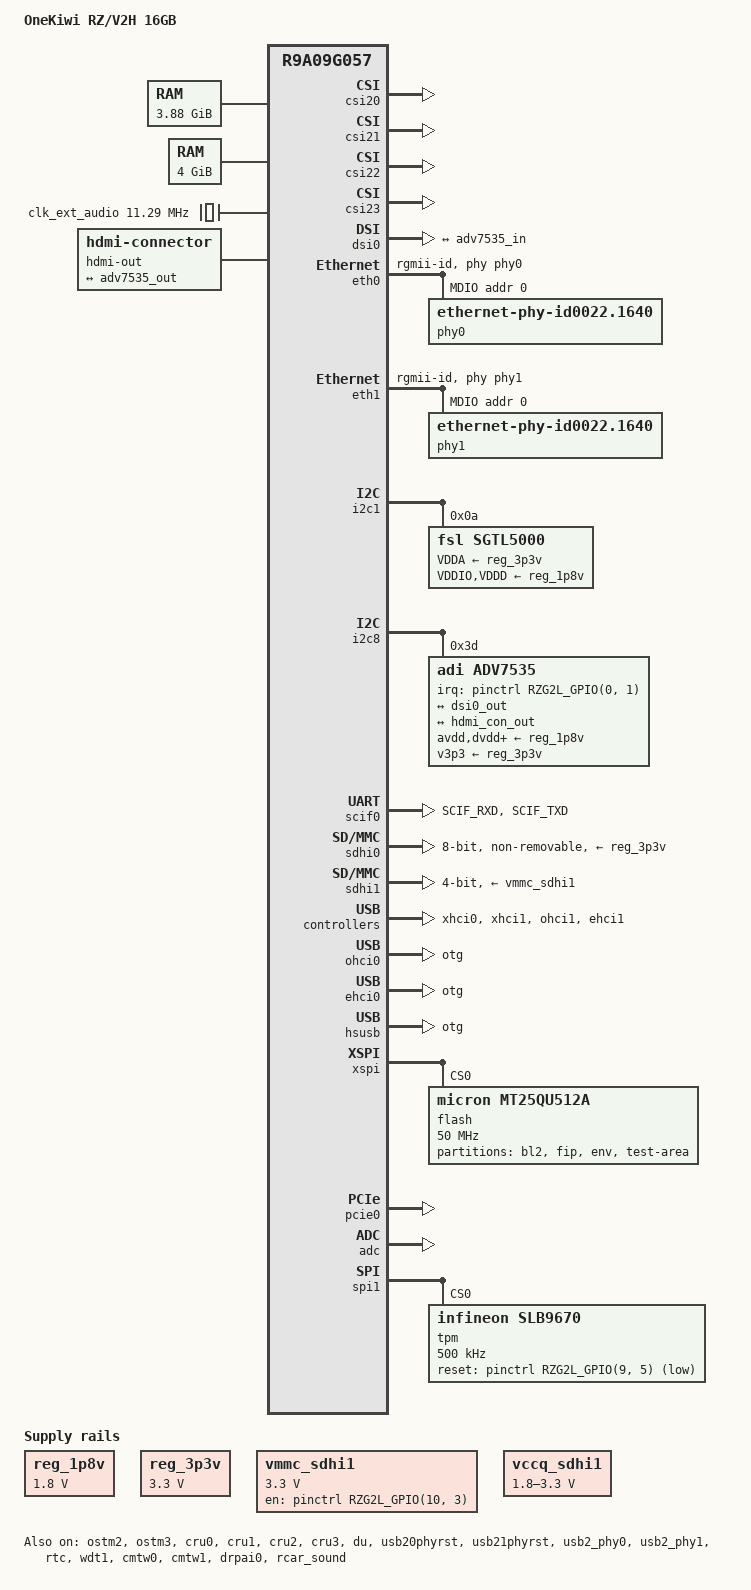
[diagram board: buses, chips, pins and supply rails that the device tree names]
// SPDX-License-Identifier: (GPL-2.0-only OR BSD-2-Clause)
/*
 * Device Tree Source for the OneKiw RZ/V2H SOM board
 *
 * Copyright (C) 2024 Renesas Electronics Corp.
 */

/dts-v1/;
#include "r9a09g057-onekiwi.dtsi"
#include <dt-bindings/pinctrl/rzg2l-pinctrl.h>
#include <dt-bindings/gpio/gpio.h>

/ {
	model = "OneKiwi RZ/V2H 16GB";
	compatible = "onekiwi,onekiwi-rzv2h-16gb", "renesas,r9a09g057h4", "renesas,r9a09g057";

	aliases {
		serial0 = &scif0;
		mmc0 = &sdhi0;
		mmc1 = &sdhi1;
		mmc2 = &sdhi2;
		ethernet0 = &eth0;
		ethernet1 = &eth1;
	};

	chosen {
		bootargs = "ignore_loglevel";
		stdout-path = "serial0:115200n8";
	};

	memory@48000000 {
		device_type = "memory";
		reg = <0x0 0x48000000 0x0 0xF8000000>;
	};

	memory@240000000 {
		device_type = "memory";
		reg = <0x2 0x40000000 0x1 0x00000000>;
	};

	reserved-memory {
		#address-cells = <2>;
		#size-cells = <2>;
		ranges;

		global_cma: linux,cma@58000000 {
			compatible = "shared-dma-pool";
			linux,cma-default;
			reusable;
			reg = <0x0 0x58000000 0x0 0x28000000>;
		};

		mmp_reserved: linux,multimedia {
			compatible = "shared-dma-pool";
			reusable;
			reg = <0x00000000 0x80000000 0x0 0x10000000>;
		};

		isp_reserved: frame_buffer@90000000 {
			compatible = "shared-dma-pool";
			reusable;
			reg = <0x0 0x90000000 0x0 0x18000000>;
		};

		opencva_reserved: OpenCVA@A8000000 {
			reusable;
			reg = <0x0 0xA8000000 0x0 0x7D00000>;
		};

		drp_codec: DRP-Codec@AFD00000 {
			reusable;
			reg = <0x0 0xAFD00000 0x0 0x300000>;
		};

		image_buf0: image_buf@B0000000 {
			compatible = "shared-dma-pool";
			reusable;
			reg = <0x0 0xB0000000 0x0 0x4000000>;
			label = "image_buf0";
		};

		cru_func: cru_buffer@B4000000 {
			compatible = "shared-dma-pool";
			reusable;
			reg = <0x0 0xB4000000 0x0 0x16400000>;
		};

		drp_reserved: DRP-AI@240000000 {
			reusable;
			// reg = <0x2 0x40000000 0x0 0x20000000>; // size = 512 MiB
			reg = <0x2 0x40000000 0x0 0x80000000>; // size = 2GiB
		};
	};

	mmngr {
		compatible = "renesas,mmngr";
		memory-region = <&mmp_reserved>;
	};

	mmngrbuf {
		compatible = "renesas,mmngrbuf";
	};

	vspm_if {
		compatible = "renesas,vspm_if";
	};

	reg_1p8v: regulator0 {
		compatible = "regulator-fixed";
		regulator-name = "fixed-1.8V";
		regulator-min-microvolt = <1800000>;
		regulator-max-microvolt = <1800000>;
		regulator-boot-on;
		regulator-always-on;
	};

	reg_3p3v: regulator1 {
		compatible = "regulator-fixed";
		regulator-name = "fixed-3.3V";
		regulator-min-microvolt = <3300000>;
		regulator-max-microvolt = <3300000>;
		regulator-boot-on;
		regulator-always-on;
	};

	vmmc_sdhi1: regulator-vcc-sdhi1 {
		compatible = "regulator-fixed";
		regulator-name = "SDHI1 Vmmc";
		regulator-min-microvolt = <3300000>;
		regulator-max-microvolt = <3300000>;
		gpios = <&pinctrl RZG2L_GPIO(10, 3) GPIO_ACTIVE_HIGH>;
		enable-active-high;
	};

	vccq_sdhi1: regulator-vccq-sdhi1 {
		compatible = "regulator-gpio";
		regulator-name = "SDHI1 VccQ";
		regulator-min-microvolt = <1800000>;
		regulator-max-microvolt = <3300000>;
		//gpios = <&pinctrl RZG2L_GPIO(10, 2) GPIO_ACTIVE_HIGH>;
		gpios-states = <1>;
		states = <3300000 0 1800000 1>;
	};

	x1_clk: x1-clock {
		compatible = "fixed-clock";
		#clock-cells = <0>;
		clock-frequency = <24000000>;
	};

	clk_ext_audio: clk_ext_audio {
		compatible = "fixed-clock";
		#clock-cells = <0>;
		clock-frequency = <11289600>;
	};

	snd_rzv2h: sound {
		#address-cells = <1>;
		#size-cells = <0>;
		compatible = "simple-audio-card";
		simple-audio-card,name = "rsnd_rzv2h";
		status="okay";

		ssi_link: simple-audio-card,dai-link@0 {
			format = "i2s";
			reg = <0>;
			bitclock-master = <&cpu_dai0>;
			frame-master = <&cpu_dai0>;
			mclk-fs = <256>;

			cpu_dai0: cpu {
				sound-dai = <&rcar_sound 0>;
			};

			codec {
				sound-dai = <&sgtl5000>;
				clocks = <&rcar_sound>;
			};
		};
	};

	hdmi-out {
		compatible = "hdmi-connector";
		type = "d";

		port {
			hdmi_con_out: endpoint {
				remote-endpoint = <&adv7535_out>;
			};
		};
	};

	udmabuf@0 {
		compatible = "ikwzm,u-dma-buf";
		device-name = "udmabuf0";
		minor-number = <0>;
		size = <0x4000000>; // 64MiB
		dma-coherent;
		memory-region = <&image_buf0>;
	};
};

&audio_clka {
	clock-frequency = <22579200>;
};

&audio_clkb {
	clock-frequency = <24576000>;
};

&audio_clkc {
	clock-frequency = <22579200>;
};

&extal_clk {
	clock-frequency = <24000000>;
};

&ostm2 {
	status = "okay";
};

&ostm3 {
	status = "okay";
};

&cru0 {
	status = "okay";
};

&csi20 {
	status = "okay";
};

&cru1 {
	status = "okay";
};

&csi21 {
	status = "okay";
};

&cru2 {
	status = "okay";
};

&csi22 {
	status = "okay";
};

&cru3 {
	status = "okay";
};

&csi23 {
	status = "okay";
};

&du {
	status = "okay";
};

&dsi0 {
	status = "okay";
	ports {
		port@1 {
			dsi0_out: endpoint {
				remote-endpoint = <&adv7535_in>;
				data-lanes = <1 2 3 4>;
			};
		};
	};
};

&eth0 {
	phy-handle = <&phy0>;
	phy-mode = "rgmii-id";
	status = "okay";

	mdio {
		#address-cells = <1>;
		#size-cells = <0>;
		phy0: ethernet-phy@0 {
			compatible = "ethernet-phy-id0022.1640",
						 "ethernet-phy-ieee802.3-c22";
			reg = <0>;
			rxc-skew-psec = <1400>;
			txc-skew-psec = <1400>;
			rxdv-skew-psec = <0>;
			txdv-skew-psec = <0>;
			rxd0-skew-psec = <0>;
			rxd1-skew-psec = <0>;
			rxd2-skew-psec = <0>;
			rxd3-skew-psec = <0>;
			txd0-skew-psec = <0>;
			txd1-skew-psec = <0>;
			txd2-skew-psec = <0>;
			txd3-skew-psec = <0>;
		};
	};
};

&eth1 {
	phy-handle = <&phy1>;
	phy-mode = "rgmii-id";
	status = "okay";

	mdio {
		#address-cells = <1>;
		#size-cells = <0>;
		phy1: ethernet-phy@0 {
			compatible = "ethernet-phy-id0022.1640",
						 "ethernet-phy-ieee802.3-c22";
			reg = <0>;
			rxc-skew-psec = <1400>;
			txc-skew-psec = <1400>;
			rxdv-skew-psec = <0>;
			txdv-skew-psec = <0>;
			rxd0-skew-psec = <0>;
			rxd1-skew-psec = <0>;
			rxd2-skew-psec = <0>;
			rxd3-skew-psec = <0>;
			txd0-skew-psec = <0>;
			txd1-skew-psec = <0>;
			txd2-skew-psec = <0>;
			txd3-skew-psec = <0>;
		};
	};
};

&i2c1 {
	pinctrl-0 = <&i2c1_pins>;
	pinctrl-names = "default";
	status = "okay";

	sgtl5000: audio-codec@a {
		compatible = "fsl,sgtl5000";
		#sound-dai-cells = <0>;
		#address-cells = <1>;
		#size-cells = <0>;
		reg = <0xa>;

		clocks = <&rcar_sound>;
		clock-names = "mclk";

		VDDA-supply = <&reg_3p3v>;
		VDDIO-supply = <&reg_1p8v>;
		VDDD-supply = <&reg_1p8v>;
	};
};

&i2c8 {
	pinctrl-0 = <&i2c8_pins>;
	pinctrl-names = "default";
	status = "okay";

	adv7535: hdmi@3d {
		compatible = "adi,adv7535";
		reg = <0x3d>;

		avdd-supply = <&reg_1p8v>;
		dvdd-supply = <&reg_1p8v>;
		pvdd-supply = <&reg_1p8v>;
		a2vdd-supply = <&reg_1p8v>;
		v3p3-supply = <&reg_3p3v>;
		v1p2-supply = <&reg_1p8v>;

		interrupt-parent = <&pinctrl>;
		interrupts = <RZG2L_GPIO(0, 1) IRQ_TYPE_LEVEL_LOW>;

		adi,dsi-lanes = <4>;

		ports {
			#address-cells = <1>;
			#size-cells = <0>;

			port@0 {
				reg = <0>;
				adv7535_in: endpoint@0 {
					remote-endpoint = <&dsi0_out>;
				};
			};

			port@1 {
				reg = <1>;
				adv7535_out: endpoint@1 {
				remote-endpoint = <&hdmi_con_out>;
				};
			};
		};
	};
};

/* console */
&scif0 {
	pinctrl-0 = <&scif0_pins>;
	pinctrl-names = "default";
	status = "okay";
};

/* eMMC */
&sdhi0 {
	vmmc-supply = <&reg_3p3v>;
	vqmmc-supply = <&reg_1p8v>;
	bus-width = <8>;
	mmc-hs200-1_8v;
	non-removable;
	fixed-emmc-driver-type = <1>;
	status = "okay";
};

/* microSD */
&sdhi1 {
	pinctrl-0 = <&sdhi1_pins>;
	pinctrl-names = "default";
	vmmc-supply = <&vmmc_sdhi1>;
	vqmmc-supply = <&vccq_sdhi1>;
	//vqmmc-supply = <&reg_1p8v>;
	bus-width = <4>;
	sd-uhs-sdr50;
	sd-uhs-sdr104;
	status = "okay";
};

&usb20phyrst {
	status = "okay";
};

&usb21phyrst {
	status = "okay";
};

&xhci0 {
	pinctrl-0 = <&usb30_pins>;
	pinctrl-names = "default";
	memory-region = <&global_cma>;
	status = "okay";
};

&xhci1 {
	pinctrl-0 = <&usb31_pins>;
	pinctrl-names = "default";
	memory-region = <&global_cma>;
	status = "okay";
};

&ohci0 {
	memory-region = <&global_cma>;
	dr_mode = "otg";
	status = "okay";
};

&ohci1 {
	memory-region = <&global_cma>;
	status = "okay";
};

&ehci0 {
	memory-region = <&global_cma>;
	dr_mode = "otg";
	status = "okay";
};

&ehci1 {
	memory-region = <&global_cma>;
	status = "okay";
};

&hsusb {
	dr_mode = "otg";
	status = "okay";
};

&usb2_phy0 {
	pinctrl-0 = <&usb20_pins>;
	pinctrl-names = "default";
	status = "okay";
};

&usb2_phy1 {
	pinctrl-0 = <&usb21_pins>;
	pinctrl-names = "default";
	status = "okay";
};

&rtc {
	status = "okay";
};

&wdt1 {
	status = "okay";
};

&xspi {
	status = "okay";

	flash@0 {
		compatible = "micron,mt25qu512a", "jedec,spi-nor";
		reg = <0>;
		m25p,fast-read;
		spi-max-frequency = <50000000>;
		spi-tx-bus-width = <1>;
		spi-rx-bus-width = <1>;

		partitions {
			compatible = "fixed-partitions";
			#address-cells = <1>;
			#size-cells = <1>;

			partition@000000 {
				label = "bl2";
				reg = <0x00000000 0x0001D200>;
				read-only;
			};

			partition@01D200 {
				label = "fip";
				reg = <0x0001D200 0x001C2E00>;
				read-only;
			};

			partition@1E0000 {
				label = "env";
				reg = <0x001E0000 0x00020000>;
				read-only;
			};

			partition@200000 {
				label = "test-area";
				reg = <0x00200000 0x00E00000>;
			};
		};
	};
};

/*
&pcie0 {
	/ Map all possible DDR as inbound ranges
	dma-ranges = <0x42000000 0 0x40000000 0 0x40000000 0x4 0x00000000>;
	status = "okay";
};*/

&pcie0 {
	// Map all possible DDR as inbound ranges
	dma-ranges = <0x42000000 0 0x40000000 0 0x40000000 0x2 0x00000000>;
	status = "okay";
};

&adc {
	status = "okay";
};

&cmtw0 {
	status = "okay";
};

&cmtw1 {
	status = "okay";
};

&drpai0 {
	memory-region = <&drp_reserved>;
	image-memory-region = <&image_buf0>;
	status = "okay";
};

&spi1 {
	pinctrl-0 = <&spi1_pins>;
	pinctrl-names = "default";
	status = "okay";

	tpm@0 {
		compatible = "infineon,slb9670";
		reg = <0>;                            // SPI chip-select 0
		spi-max-frequency = <500000>;        // Infineon khuyến nghị ≤ 1MHz
		//interrupt-parent = <&pinctrl>;
		interrupts = <&pinctrl RZG2L_GPIO(9, 6) IRQ_TYPE_LEVEL_HIGH>; // IRQ của TPM, bạn cần thay đổi số GPIO tương ứng
		reset-gpios = <&pinctrl RZG2L_GPIO(9, 5) GPIO_ACTIVE_LOW>; // GPIO reset cho TPM, thay đổi tùy thuộc vào mạch của bạn
		tpm,operating-mode = <1>;
	};
};

&rcar_sound {
	pinctrl-0 = <&sound_clk_pins &sound_pins>;
	pinctrl-names = "default";
	status = "okay";

	/* audio_clkout */
	#clock-cells = <0>;
	clock-frequency = <11289600>;

	/* Multi DAI */
	#sound-dai-cells = <1>;

	rcar_sound,dai {
		dai0 {
			playback = <&ssi1>;
			capture  = <&ssi2 &src0 &dvc0>;
		};
	};
};

&ssi2 {
	shared-pin;
};

&pinctrl {
	scif0_pins: scif0 {
		pins =  "SCIF_RXD", "SCIF_TXD";
	};

	sdhi1_pins: sd1 {
		sd1_mux {
			pinmux = <RZG2L_PORT_PINMUX(9, 4, 14)>; /* SD1_CD */
		};
	};

	i2c1_pins: i2c1 {
		pinmux = <RZG2L_PORT_PINMUX(3, 2, 1)>, /* I2C1_SDA */
				 <RZG2L_PORT_PINMUX(3, 3, 1)>; /* I2C1_SCL */
	};

	i2c8_pins: i2c8 {
		pinmux = <RZG2L_PORT_PINMUX(0, 6, 1)>, /* I2C8_SDA */
				 <RZG2L_PORT_PINMUX(0, 7, 1)>; /* I2C8_SCL */
	};

	usb20_pins: usb20 {
		pinmux = <RZG2L_PORT_PINMUX(6,1,15)>, /* USB20_OVRCURN */
				 <RZG2L_PORT_PINMUX(6,0,15)>; /* USB20_VBUSEN */
	};

	usb21_pins: usb21 {
		pinmux = <RZG2L_PORT_PINMUX(6,3,15)>, /* USB21_OVRCURN */
				 <RZG2L_PORT_PINMUX(6,2,15)>; /* USB21_VBUSEN */
	};

	usb30_pins: usb30 {
		pinmux = <RZG2L_PORT_PINMUX(6,5,15)>, /* USB30_OVRCURN */
				 <RZG2L_PORT_PINMUX(6,4,15)>; /* USB30_VBUSEN */
	};

	usb31_pins: usb31 {
		pinmux = <RZG2L_PORT_PINMUX(6,7,15)>, /* USB31_OVRCURN */
				 <RZG2L_PORT_PINMUX(6,6,15)>; /* USB31_VBUSEN */
	};

	spi1_pins: spi1 {
		pinmux = <RZG2L_PORT_PINMUX(9,1,1)>, /* MISOA */
				 <RZG2L_PORT_PINMUX(9,0,1)>, /* MOSIA */
				 <RZG2L_PORT_PINMUX(9,2,1)>, /* RSPCKA */
				 <RZG2L_PORT_PINMUX(9,3,1)>; /* SSLA0 */
		bias-disable;
		drive-strength = <2>;
	};

	sound_clk_pins: sound_clk {
		pinmux = <RZG2L_PORT_PINMUX(1, 0, 7)>, /* AUDIO_CLKB */
			 <RZG2L_PORT_PINMUX(1, 1, 7)>, /* AUDIO_CLKC */
			 <RZG2L_PORT_PINMUX(9, 7, 8)>; /* AUDIO_CLKOUT */
	};

	sound_pins: sound {
		pinmux = <RZG2L_PORT_PINMUX(4,4,7)>, /* SSI1_SCK */
				 <RZG2L_PORT_PINMUX(4,5,7)>, /* SSI1_WS */
				 <RZG2L_PORT_PINMUX(4,6,7)>, /* SSI1_SDATA */
				 <RZG2L_PORT_PINMUX(4,7,7)>; /* SSI2_SDATA */
	};
};
